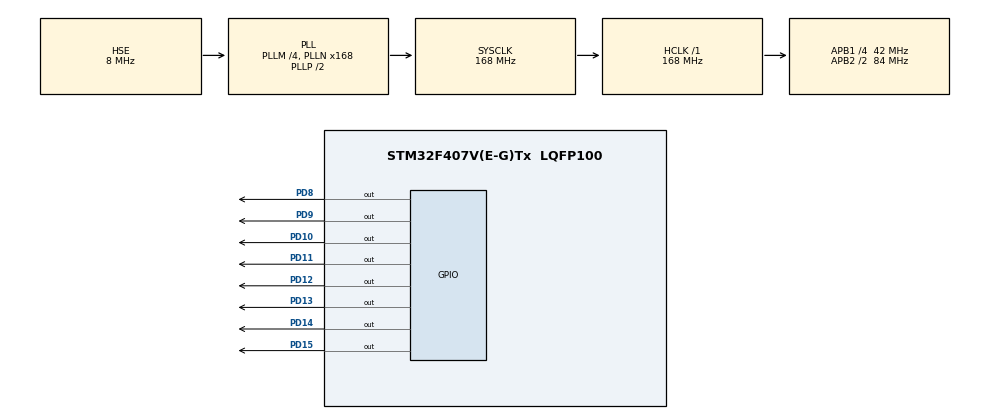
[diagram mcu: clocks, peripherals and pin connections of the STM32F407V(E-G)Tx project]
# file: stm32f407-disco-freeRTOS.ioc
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FREERTOS.INCLUDE_vTaskDelayUntil=1
FREERTOS.Tasks01=heartBeat,-3,128,StartHeartBeat,Default,NULL,Dynamic,NULL,NULL;stepStepperMoto,0,128,StartStepperTask,Default,NULL,Dynamic,NULL,NULL
FREERTOS.configUSE_IDLE_HOOK=1
IWDG.Prescaler=IWDG_PRESCALER_256
Mcu.Family=STM32F4
Mcu.Name=STM32F407V(E-G)Tx
Mcu.Package=LQFP100
NVIC.PriorityGroup=NVIC_PRIORITYGROUP_4
NVIC.TIM7_IRQn=true\:0\:0\:false\:false\:true\:false\:false
NVIC.TimeBase=TIM7_IRQn
NVIC.TimeBaseIP=TIM7
PA13.Mode=Serial_Wire
PA13.Signal=SYS_JTMS-SWDIO
PA14.Mode=Serial_Wire
PA14.Signal=SYS_JTCK-SWCLK
PD10.GPIO_PuPd=GPIO_PULLUP
PD10.PinState=GPIO_PIN_SET
PD10.Signal=GPIO_Output
PD11.GPIO_PuPd=GPIO_PULLUP
PD11.PinState=GPIO_PIN_SET
PD11.Signal=GPIO_Output
PD12.Signal=GPIO_Output
PD13.Signal=GPIO_Output
PD14.Signal=GPIO_Output
PD15.Signal=GPIO_Output
PD8.GPIO_PuPd=GPIO_PULLUP
PD8.PinState=GPIO_PIN_SET
PD8.Signal=GPIO_Output
PD9.GPIO_PuPd=GPIO_PULLUP
PD9.PinState=GPIO_PIN_SET
PD9.Signal=GPIO_Output
PH0-OSC_IN.Mode=HSE-External-Oscillator
PH0-OSC_IN.Signal=RCC_OSC_IN
PH1-OSC_OUT.Mode=HSE-External-Oscillator
PH1-OSC_OUT.Signal=RCC_OSC_OUT
ProjectManager.HeapSize=0x200
ProjectManager.StackSize=0x400
ProjectManager.TargetToolchain=TrueSTUDIO
RCC.48MHZClocksFreq_Value=84000000
RCC.AHBFreq_Value=168000000
RCC.APB1CLKDivider=RCC_HCLK_DIV4
RCC.APB1Freq_Value=42000000
RCC.APB1TimFreq_Value=84000000
RCC.APB2CLKDivider=RCC_HCLK_DIV2
RCC.APB2Freq_Value=84000000
RCC.APB2TimFreq_Value=168000000
RCC.CortexFreq_Value=168000000
RCC.HCLKFreq_Value=168000000
RCC.HSE_VALUE=8000000
RCC.HSI_VALUE=16000000
RCC.LSE_VALUE=32768
RCC.PLLM=4
RCC.PLLN=168
RCC.PLLSourceVirtual=RCC_PLLSOURCE_HSE
RCC.SYSCLKFreq_VALUE=168000000
RCC.SYSCLKSource=RCC_SYSCLKSOURCE_PLLCLK
RCC.VCOOutputFreq_Value=336000000
VP_FREERTOS_VS_ENABLE.Mode=Enabled
VP_IWDG_VS_IWDG.Mode=IWDG_Activate
VP_SYS_VS_tim7.Mode=TIM7
board=custom

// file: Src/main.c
/* USER CODE BEGIN Header */
/**
  ******************************************************************************
  * @file           : main.c
  * @brief          : Main program body
  ******************************************************************************
  * This notice applies to any and all portions of this file
  * that are not between comment pairs USER CODE BEGIN and
  * USER CODE END. Other portions of this file, whether
  * inserted by the user or by software development tools
  * are owned by their respective copyright owners.
  *
  * Copyright (c) 2018 STMicroelectronics International N.V.
  * All rights reserved.
  *
  * Redistribution and use in source and binary forms, with or without
  * modification, are permitted, provided that the following conditions are met:
  *
  * 1. Redistribution of source code must retain the above copyright notice,
  *    this list of conditions and the following disclaimer.
  * 2. Redistributions in binary form must reproduce the above copyright notice,
  *    this list of conditions and the following disclaimer in the documentation
  *    and/or other materials provided with the distribution.
  * 3. Neither the name of STMicroelectronics nor the names of other
  *    contributors to this software may be used to endorse or promote products
  *    derived from this software without specific written permission.
  * 4. This software, including modifications and/or derivative works of this
  *    software, must execute solely and exclusively on microcontroller or
  *    microprocessor devices manufactured by or for STMicroelectronics.
  * 5. Redistribution and use of this software other than as permitted under
  *    this license is void and will automatically terminate your rights under
  *    this license.
  *
  * THIS SOFTWARE IS PROVIDED BY STMICROELECTRONICS AND CONTRIBUTORS "AS IS"
  * AND ANY EXPRESS, IMPLIED OR STATUTORY WARRANTIES, INCLUDING, BUT NOT
  * LIMITED TO, THE IMPLIED WARRANTIES OF MERCHANTABILITY, FITNESS FOR A
  * PARTICULAR PURPOSE AND NON-INFRINGEMENT OF THIRD PARTY INTELLECTUAL PROPERTY
  * RIGHTS ARE DISCLAIMED TO THE FULLEST EXTENT PERMITTED BY LAW. IN NO EVENT
  * SHALL STMICROELECTRONICS OR CONTRIBUTORS BE LIABLE FOR ANY DIRECT, INDIRECT,
  * INCIDENTAL, SPECIAL, EXEMPLARY, OR CONSEQUENTIAL DAMAGES (INCLUDING, BUT NOT
  * LIMITED TO, PROCUREMENT OF SUBSTITUTE GOODS OR SERVICES; LOSS OF USE, DATA,
  * OR PROFITS; OR BUSINESS INTERRUPTION) HOWEVER CAUSED AND ON ANY THEORY OF
  * LIABILITY, WHETHER IN CONTRACT, STRICT LIABILITY, OR TORT (INCLUDING
  * NEGLIGENCE OR OTHERWISE) ARISING IN ANY WAY OUT OF THE USE OF THIS SOFTWARE,
  * EVEN IF ADVISED OF THE POSSIBILITY OF SUCH DAMAGE.
  *
  ******************************************************************************
  */
/* USER CODE END Header */

#include "main.h"
#include "cmsis_os.h"

/* USER CODE BEGIN PD */
//#define DISABLE_IWDG_REFRESH
#define STEP_ONE_EIGHTH 8
#define STEP_SIZE STEP_ONE_EIGHTH
/* USER CODE END PD */

IWDG_HandleTypeDef hiwdg;

osThreadId heartBeatHandle;
osThreadId stepStepperMotoHandle;

void SystemClock_Config(void);
static void MX_GPIO_Init(void);
static void MX_IWDG_Init(void);
void StartHeartBeat(void const * argument);
void StartStepperTask(void const * argument);

int main(void)
{

  /* MCU Configuration--------------------------------------------------------*/

  /* Reset of all peripherals, Initializes the Flash interface and the Systick. */
  HAL_Init();

  /* Configure the system clock */
  SystemClock_Config();

  /* Initialize all configured peripherals */
  MX_GPIO_Init();
  MX_IWDG_Init();
  /* USER CODE BEGIN 2 */
  // Ensure IWDG doesn't expire prior to the call to defaultTask()
  if( 1 == IsAfterRebootIWDG()){

	  HAL_GPIO_WritePin(GPIOD, GPIO_PIN_14, GPIO_PIN_SET);
	  HAL_Delay(3000);
	  HAL_GPIO_WritePin(GPIOD, GPIO_PIN_14, GPIO_PIN_RESET);
  }
  /* USER CODE END 2 */

  /* Create the thread(s) */
  /* definition and creation of heartBeat */
  osThreadDef(heartBeat, StartHeartBeat, osPriorityIdle, 0, 128);
  heartBeatHandle = osThreadCreate(osThread(heartBeat), NULL);

  /* definition and creation of stepStepperMoto */
  osThreadDef(stepStepperMoto, StartStepperTask, osPriorityNormal, 0, 128);
  stepStepperMotoHandle = osThreadCreate(osThread(stepStepperMoto), NULL);

  /* Start scheduler */
  osKernelStart();

  /* We should never get here as control is now taken by the scheduler */

  /* Infinite loop */
  while (1)
  {

  }
}

void SystemClock_Config(void)
{
  RCC_OscInitTypeDef RCC_OscInitStruct = {0};
  RCC_ClkInitTypeDef RCC_ClkInitStruct = {0};

  /**Configure the main internal regulator output voltage
  */
  __HAL_RCC_PWR_CLK_ENABLE();
  __HAL_PWR_VOLTAGESCALING_CONFIG(PWR_REGULATOR_VOLTAGE_SCALE1);
  /**Initializes the CPU, AHB and APB busses clocks
  */
  RCC_OscInitStruct.OscillatorType = RCC_OSCILLATORTYPE_LSI|RCC_OSCILLATORTYPE_HSE;
  RCC_OscInitStruct.HSEState = RCC_HSE_ON;
  RCC_OscInitStruct.LSIState = RCC_LSI_ON;
  RCC_OscInitStruct.PLL.PLLState = RCC_PLL_ON;
  RCC_OscInitStruct.PLL.PLLSource = RCC_PLLSOURCE_HSE;
  RCC_OscInitStruct.PLL.PLLM = 4;
  RCC_OscInitStruct.PLL.PLLN = 168;
  RCC_OscInitStruct.PLL.PLLP = RCC_PLLP_DIV2;
  RCC_OscInitStruct.PLL.PLLQ = 4;
  if (HAL_RCC_OscConfig(&RCC_OscInitStruct) != HAL_OK)
  {
    Error_Handler();
  }
  /**Initializes the CPU, AHB and APB busses clocks
  */
  RCC_ClkInitStruct.ClockType = RCC_CLOCKTYPE_HCLK|RCC_CLOCKTYPE_SYSCLK
                              |RCC_CLOCKTYPE_PCLK1|RCC_CLOCKTYPE_PCLK2;
  RCC_ClkInitStruct.SYSCLKSource = RCC_SYSCLKSOURCE_PLLCLK;
  RCC_ClkInitStruct.AHBCLKDivider = RCC_SYSCLK_DIV1;
  RCC_ClkInitStruct.APB1CLKDivider = RCC_HCLK_DIV4;
  RCC_ClkInitStruct.APB2CLKDivider = RCC_HCLK_DIV2;

  if (HAL_RCC_ClockConfig(&RCC_ClkInitStruct, FLASH_LATENCY_5) != HAL_OK)
  {
    Error_Handler();
  }
}

static void MX_IWDG_Init(void)
{

  hiwdg.Instance = IWDG;
  hiwdg.Init.Prescaler = IWDG_PRESCALER_256;
  hiwdg.Init.Reload = 4095;
  if (HAL_IWDG_Init(&hiwdg) != HAL_OK)
  {
    Error_Handler();
  }

}

static void MX_GPIO_Init(void)
{
  GPIO_InitTypeDef GPIO_InitStruct = {0};

  /* GPIO Ports Clock Enable */
  __HAL_RCC_GPIOE_CLK_ENABLE();
  __HAL_RCC_GPIOC_CLK_ENABLE();
  __HAL_RCC_GPIOH_CLK_ENABLE();
  __HAL_RCC_GPIOA_CLK_ENABLE();
  __HAL_RCC_GPIOB_CLK_ENABLE();
  __HAL_RCC_GPIOD_CLK_ENABLE();

  /*Configure GPIO pin Output Level */
  HAL_GPIO_WritePin(GPIOD, GPIO_PIN_8|GPIO_PIN_9|GPIO_PIN_10|GPIO_PIN_11, GPIO_PIN_SET);

  /*Configure GPIO pin Output Level */
  HAL_GPIO_WritePin(GPIOD, GPIO_PIN_12|GPIO_PIN_13|GPIO_PIN_14|GPIO_PIN_15, GPIO_PIN_RESET);

  /*Configure GPIO pins : PE2 PE3 PE4 PE5
                           PE6 PE7 PE8 PE9
                           PE10 PE11 PE12 PE13
                           PE14 PE15 PE0 PE1 */
  GPIO_InitStruct.Pin = GPIO_PIN_2|GPIO_PIN_3|GPIO_PIN_4|GPIO_PIN_5
                          |GPIO_PIN_6|GPIO_PIN_7|GPIO_PIN_8|GPIO_PIN_9
                          |GPIO_PIN_10|GPIO_PIN_11|GPIO_PIN_12|GPIO_PIN_13
                          |GPIO_PIN_14|GPIO_PIN_15|GPIO_PIN_0|GPIO_PIN_1;
  GPIO_InitStruct.Mode = GPIO_MODE_ANALOG;
  GPIO_InitStruct.Pull = GPIO_NOPULL;
  HAL_GPIO_Init(GPIOE, &GPIO_InitStruct);

  /*Configure GPIO pins : PC13 PC14 PC15 PC0
                           PC1 PC2 PC3 PC4
                           PC5 PC6 PC7 PC8
                           PC9 PC10 PC11 PC12 */
  GPIO_InitStruct.Pin = GPIO_PIN_13|GPIO_PIN_14|GPIO_PIN_15|GPIO_PIN_0
                          |GPIO_PIN_1|GPIO_PIN_2|GPIO_PIN_3|GPIO_PIN_4
                          |GPIO_PIN_5|GPIO_PIN_6|GPIO_PIN_7|GPIO_PIN_8
                          |GPIO_PIN_9|GPIO_PIN_10|GPIO_PIN_11|GPIO_PIN_12;
  GPIO_InitStruct.Mode = GPIO_MODE_ANALOG;
  GPIO_InitStruct.Pull = GPIO_NOPULL;
  HAL_GPIO_Init(GPIOC, &GPIO_InitStruct);

  /*Configure GPIO pins : PA0 PA1 PA2 PA3
                           PA4 PA5 PA6 PA7
                           PA8 PA9 PA10 PA11
                           PA12 PA15 */
  GPIO_InitStruct.Pin = GPIO_PIN_0|GPIO_PIN_1|GPIO_PIN_2|GPIO_PIN_3
                          |GPIO_PIN_4|GPIO_PIN_5|GPIO_PIN_6|GPIO_PIN_7
                          |GPIO_PIN_8|GPIO_PIN_9|GPIO_PIN_10|GPIO_PIN_11
                          |GPIO_PIN_12|GPIO_PIN_15;
  GPIO_InitStruct.Mode = GPIO_MODE_ANALOG;
  GPIO_InitStruct.Pull = GPIO_NOPULL;
  HAL_GPIO_Init(GPIOA, &GPIO_InitStruct);

  /*Configure GPIO pins : PB0 PB1 PB2 PB10
                           PB11 PB12 PB13 PB14
                           PB15 PB3 PB4 PB5
                           PB6 PB7 PB8 PB9 */
  GPIO_InitStruct.Pin = GPIO_PIN_0|GPIO_PIN_1|GPIO_PIN_2|GPIO_PIN_10
                          |GPIO_PIN_11|GPIO_PIN_12|GPIO_PIN_13|GPIO_PIN_14
                          |GPIO_PIN_15|GPIO_PIN_3|GPIO_PIN_4|GPIO_PIN_5
                          |GPIO_PIN_6|GPIO_PIN_7|GPIO_PIN_8|GPIO_PIN_9;
  GPIO_InitStruct.Mode = GPIO_MODE_ANALOG;
  GPIO_InitStruct.Pull = GPIO_NOPULL;
  HAL_GPIO_Init(GPIOB, &GPIO_InitStruct);

  /*Configure GPIO pins : PD8 PD9 PD10 PD11 */
  GPIO_InitStruct.Pin = GPIO_PIN_8|GPIO_PIN_9|GPIO_PIN_10|GPIO_PIN_11;
  GPIO_InitStruct.Mode = GPIO_MODE_OUTPUT_PP;
  GPIO_InitStruct.Pull = GPIO_PULLUP;
  GPIO_InitStruct.Speed = GPIO_SPEED_FREQ_LOW;
  HAL_GPIO_Init(GPIOD, &GPIO_InitStruct);

  /*Configure GPIO pins : PD12 PD13 PD14 PD15 */
  GPIO_InitStruct.Pin = GPIO_PIN_12|GPIO_PIN_13|GPIO_PIN_14|GPIO_PIN_15;
  GPIO_InitStruct.Mode = GPIO_MODE_OUTPUT_PP;
  GPIO_InitStruct.Pull = GPIO_NOPULL;
  GPIO_InitStruct.Speed = GPIO_SPEED_FREQ_LOW;
  HAL_GPIO_Init(GPIOD, &GPIO_InitStruct);

  /*Configure GPIO pins : PD0 PD1 PD2 PD3
                           PD4 PD5 PD6 PD7 */
  GPIO_InitStruct.Pin = GPIO_PIN_0|GPIO_PIN_1|GPIO_PIN_2|GPIO_PIN_3
                          |GPIO_PIN_4|GPIO_PIN_5|GPIO_PIN_6|GPIO_PIN_7;
  GPIO_InitStruct.Mode = GPIO_MODE_ANALOG;
  GPIO_InitStruct.Pull = GPIO_NOPULL;
  HAL_GPIO_Init(GPIOD, &GPIO_InitStruct);

}

/* USER CODE BEGIN 4 */
void vApplicationIdleHook( void ){

#ifndef DISABLE_IWDG_REFRESH
	HAL_IWDG_Refresh(&hiwdg);
#endif
}
/* USER CODE END 4 */

void StartHeartBeat(void const * argument)
{

  /* USER CODE BEGIN 5 */
  /* Infinite loop */
  for(;;)
  {
    osDelay(500);
    HAL_GPIO_WritePin(GPIOD, GPIO_PIN_12, GPIO_PIN_SET);
    osDelay(500);
    HAL_GPIO_WritePin(GPIOD, GPIO_PIN_12, GPIO_PIN_RESET);

  }
  /* USER CODE END 5 */
}

/* USER CODE BEGIN Header_StartStepperTask */
/**
* @brief Function implementing the stepStepperMoto thread.
* @note Motor Pin Map->[Blue:Pink:Yellow:Orange] == [PD11:8]
* @param argument: Not used
* @retval None
*/
/* USER CODE END Header_StartStepperTask */
void StartStepperTask(void const * argument)
{
  /* USER CODE BEGIN StartStepperTask */
  const uint32_t stepSequence[STEP_SIZE] = { 1, 3, 2, 6, 4, 12, 8, 9 };
  uint32_t stepIndex = 0;
  /* Infinite loop */
  for(;;)
  {
	while(stepIndex < STEP_SIZE){
		HAL_GPIO_WritePin(GPIOD, (stepSequence[stepIndex] << 8), GPIO_PIN_RESET);
		(STEP_SIZE <= (stepIndex + 1)) ? stepIndex = 0 : ++stepIndex;

		osDelay(20);
	}
  }
  /* USER CODE END StartStepperTask */
}

void HAL_TIM_PeriodElapsedCallback(TIM_HandleTypeDef *htim)
{
  if (htim->Instance == TIM7) {
    HAL_IncTick();
  }
}

void Error_Handler(void)
{
}

/************************ (C) COPYRIGHT STMicroelectronics *****END OF FILE****/

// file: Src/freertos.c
/* USER CODE BEGIN Header */
/**
  ******************************************************************************
  * File Name          : freertos.c
  * Description        : Code for freertos applications
  ******************************************************************************
  * This notice applies to any and all portions of this file
  * that are not between comment pairs USER CODE BEGIN and
  * USER CODE END. Other portions of this file, whether
  * inserted by the user or by software development tools
  * are owned by their respective copyright owners.
  *
  * Copyright (c) 2018 STMicroelectronics International N.V.
  * All rights reserved.
  *
  * Redistribution and use in source and binary forms, with or without
  * modification, are permitted, provided that the following conditions are met:
  *
  * 1. Redistribution of source code must retain the above copyright notice,
  *    this list of conditions and the following disclaimer.
  * 2. Redistributions in binary form must reproduce the above copyright notice,
  *    this list of conditions and the following disclaimer in the documentation
  *    and/or other materials provided with the distribution.
  * 3. Neither the name of STMicroelectronics nor the names of other
  *    contributors to this software may be used to endorse or promote products
  *    derived from this software without specific written permission.
  * 4. This software, including modifications and/or derivative works of this
  *    software, must execute solely and exclusively on microcontroller or
  *    microprocessor devices manufactured by or for STMicroelectronics.
  * 5. Redistribution and use of this software other than as permitted under
  *    this license is void and will automatically terminate your rights under
  *    this license.
  *
  * THIS SOFTWARE IS PROVIDED BY STMICROELECTRONICS AND CONTRIBUTORS "AS IS"
  * AND ANY EXPRESS, IMPLIED OR STATUTORY WARRANTIES, INCLUDING, BUT NOT
  * LIMITED TO, THE IMPLIED WARRANTIES OF MERCHANTABILITY, FITNESS FOR A
  * PARTICULAR PURPOSE AND NON-INFRINGEMENT OF THIRD PARTY INTELLECTUAL PROPERTY
  * RIGHTS ARE DISCLAIMED TO THE FULLEST EXTENT PERMITTED BY LAW. IN NO EVENT
  * SHALL STMICROELECTRONICS OR CONTRIBUTORS BE LIABLE FOR ANY DIRECT, INDIRECT,
  * INCIDENTAL, SPECIAL, EXEMPLARY, OR CONSEQUENTIAL DAMAGES (INCLUDING, BUT NOT
  * LIMITED TO, PROCUREMENT OF SUBSTITUTE GOODS OR SERVICES; LOSS OF USE, DATA,
  * OR PROFITS; OR BUSINESS INTERRUPTION) HOWEVER CAUSED AND ON ANY THEORY OF
  * LIABILITY, WHETHER IN CONTRACT, STRICT LIABILITY, OR TORT (INCLUDING
  * NEGLIGENCE OR OTHERWISE) ARISING IN ANY WAY OUT OF THE USE OF THIS SOFTWARE,
  * EVEN IF ADVISED OF THE POSSIBILITY OF SUCH DAMAGE.
  *
  ******************************************************************************
  */
/* USER CODE END Header */

#include "FreeRTOS.h"
#include "task.h"
#include "main.h"

/* Hook prototypes */
void vApplicationIdleHook(void);

/* USER CODE BEGIN 2 */
__weak void vApplicationIdleHook( void )
{
   /* vApplicationIdleHook() will only be called if configUSE_IDLE_HOOK is set
   to 1 in FreeRTOSConfig.h. It will be called on each iteration of the idle
   task. It is essential that code added to this hook function never attempts
   to block in any way (for example, call xQueueReceive() with a block time
   specified, or call vTaskDelay()). If the application makes use of the
   vTaskDelete() API function (as this demo application does) then it is also
   important that vApplicationIdleHook() is permitted to return to its calling
   function, because it is the responsibility of the idle task to clean up
   memory allocated by the kernel to any task that has since been deleted. */
}
/* USER CODE END 2 */

/************************ (C) COPYRIGHT STMicroelectronics *****END OF FILE****/
